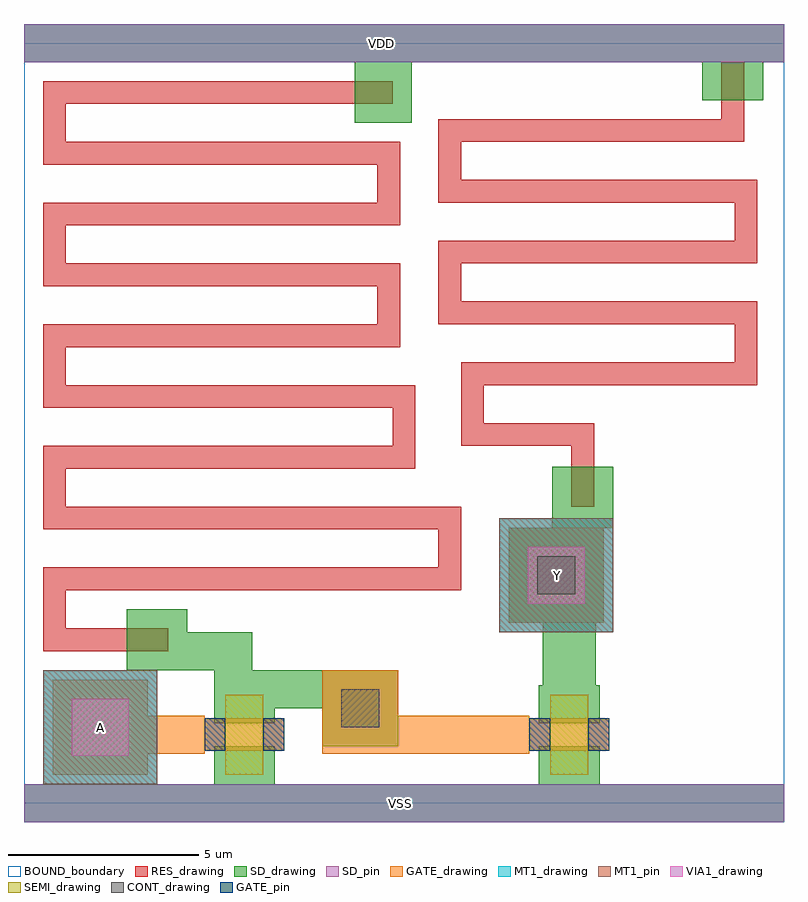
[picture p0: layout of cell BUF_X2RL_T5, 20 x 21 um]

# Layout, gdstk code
from math import pi, radians
import gdstk
lib = gdstk.Library(unit=1e-6, precision=1e-09)
def R(c, l, rs):  # rectangles x0, y0, x1, y1
    for r in rs: c.add(gdstk.rectangle(r[:2], r[2:], *l))
def P(c, l, *ps):  # polygons
    for p in ps: c.add(gdstk.Polygon(p, *l))
RES_drawing = (1, 0)
SEMI_drawing = (3, 0)
SD_drawing = (10, 0)
SD_pin = (10, 3)
GATE_drawing = (11, 0)
GATE_pin = (11, 3)
MT1_drawing = (20, 0)
MT1_pin = (20, 3)
CONT_drawing = (30, 0)
VIA1_drawing = (41, 0)
BOUND_boundary = (150, 5)

nch_cdns_772544872510 = lib.new_cell('nch_CDNS_772544872510')
R(nch_cdns_772544872510, SEMI_drawing, [(-1.05,-0.5,1.05,0.5)])
R(nch_cdns_772544872510, SD_drawing, [(-1.3,-0.8,-0.3,0.8), (0.3,-0.8,1.3,0.8)])
R(nch_cdns_772544872510, GATE_drawing, [(-0.425,-1.05,0.425,1.05)])
R(nch_cdns_772544872510, GATE_pin, [(-0.425,-1.05,0.425,-0.5), (-0.425,0.5,0.425,1.05)])

gate_mt1_cdns_7725448725 = lib.new_cell('GATE_MT1_CDNS_772544872510')
R(gate_mt1_cdns_7725448725, GATE_drawing, [(-1.25,-1.25,1.25,1.25)])
R(gate_mt1_cdns_7725448725, MT1_drawing, [(-1.25,-1.25,1.25,1.25)])
R(gate_mt1_cdns_7725448725, VIA1_drawing, [(-0.75,-0.75,0.75,0.75)])

sd_gate_cdns_77254487251 = lib.new_cell('SD_GATE_CDNS_772544872511')
R(sd_gate_cdns_77254487251, SD_drawing, [(-1,-1,1,1)])
R(sd_gate_cdns_77254487251, GATE_drawing, [(-1,-1,1,1)])
R(sd_gate_cdns_77254487251, CONT_drawing, [(-0.5,-0.5,0.5,0.5)])

buf_x2rl_t5 = lib.new_cell('BUF_X2RL_T5')
R(buf_x2rl_t5, SD_drawing, [(2.7,3.5,4.3,5.1), (12.75,4.75,15.25,7.25), (13.9,7.25,15.5,8.85), (8.7,17.9,10.2,19.5), (17.85,18.5,19.45,20)])
R(buf_x2rl_t5, SD_pin, [(0,-0.5,20,0.5), (0,19.5,20,20.5)])
P(buf_x2rl_t5, GATE_drawing, [(4.65,2.3),(4.65,1.3),(4.75,1.3),(4.75,1.425),(4.8,1.425),(4.8,2.175),(4.75,2.175),(4.75,2.3)],
  [(13.2,2.3),(13.2,1.3),(13.3,1.3),(13.3,1.425),(13.35,1.425),(13.35,2.175),(13.3,2.175),(13.3,2.3)])
R(buf_x2rl_t5, MT1_drawing, [(0.5,0.5,3.5,3.5), (12.5,4.5,15.5,7.5)])
R(buf_x2rl_t5, MT1_pin, [(0.5,0.5,3.5,3.5), (12.5,4.5,15.5,7.5)])
R(buf_x2rl_t5, BOUND_boundary, [(0,0,20,20)])
buf_x2rl_t5.add(gdstk.FlexPath([(13.2,1.8),(8.35,1.8)], 1, ends=(0, 0.5), simple_path=True, layer=11, datatype=0))  # GATE_drawing
buf_x2rl_t5.add(gdstk.FlexPath([(8.35,1.8),(8.35,2.45)], 1, ends=(0.5, 0), simple_path=True, layer=11, datatype=0))  # GATE_drawing
buf_x2rl_t5.add(gdstk.FlexPath([(2,1.8),(2,2)], 1, ends=(0.5, 0), simple_path=True, layer=11, datatype=0))  # GATE_drawing
buf_x2rl_t5.add(gdstk.FlexPath([(4.65,1.8),(2,1.8)], 1, ends=(0, 0.5), simple_path=True, layer=11, datatype=0))  # GATE_drawing
buf_x2rl_t5.add(gdstk.FlexPath([(14.15,6),(14.35,6)], 1.4, ends=(0.8, 0.7), simple_path=True, layer=10, datatype=0))  # SD_drawing
buf_x2rl_t5.add(gdstk.FlexPath([(4.3,4),(5.5,4)], 1, ends=(0, 0.5), simple_path=True, layer=10, datatype=0))  # SD_drawing
buf_x2rl_t5.add(gdstk.FlexPath([(5.5,4),(5.5,3.1)], 1, ends=(0.5, 0), simple_path=True, layer=10, datatype=0))  # SD_drawing
buf_x2rl_t5.add(gdstk.FlexPath([(14.15,6),(13.95,6)], 1.6, ends=(0.8, 0.7), simple_path=True, layer=10, datatype=0))  # SD_drawing
buf_x2rl_t5.add(gdstk.FlexPath([(14.15,6.1),(14.15,6)], 1.6, ends=(0, 0.7), simple_path=True, layer=10, datatype=0))  # SD_drawing
buf_x2rl_t5.add(gdstk.FlexPath([(14.35,6),(14.35,2.1)], 1.4, ends=(0.7, 0), simple_path=True, layer=10, datatype=0))  # SD_drawing
buf_x2rl_t5.add(gdstk.FlexPath([(8.85,3),(5,3)], 1, ends=(0.5, 0), simple_path=True, layer=10, datatype=0))  # SD_drawing
buf_x2rl_t5.add(gdstk.FlexPath([(8.85,2.9),(8.85,3)], 1, ends=(0, 0.5), simple_path=True, layer=10, datatype=0))  # SD_drawing
buf_x2rl_t5.add(gdstk.FlexPath([(0,20),(20,20)], 1, ends="flush", simple_path=True, layer=10, datatype=0))  # SD_drawing
buf_x2rl_t5.add(gdstk.FlexPath([(0,0),(20,0)], 1, ends="flush", simple_path=True, layer=10, datatype=0))  # SD_drawing
buf_x2rl_t5.add(gdstk.FlexPath([(18.65,19.5),(18.65,17.7),(11.2,17.7),(11.2,16.1),(19,16.1),(19,14.5),(11.2,14.5),(11.2,12.9),(19,12.9),(19,11.3),(11.8,11.3),(11.8,9.7),(14.7,9.7),(14.7,7.8)], 0.6, ends="flush", simple_path=True, layer=1, datatype=0))  # RES_drawing
buf_x2rl_t5.add(gdstk.FlexPath([(9.7,18.7),(0.8,18.7),(0.8,17.1),(9.6,17.1),(9.6,15.5),(0.8,15.5),(0.8,13.9),(9.6,13.9),(9.6,12.3),(0.8,12.3),(0.8,10.7),(10,10.7),(10,9.1),(0.8,9.1),(0.8,7.5),(11.2,7.5),(11.2,5.9),(0.8,5.9),(0.8,4.3),(3.8,4.3)], 0.6, ends="flush", simple_path=True, layer=1, datatype=0))  # RES_drawing
buf_x2rl_t5.add(gdstk.Reference(nch_cdns_772544872510, (14.35,1.8), rotation=pi/2))
buf_x2rl_t5.add(gdstk.Reference(nch_cdns_772544872510, (5.8,1.8), rotation=pi/2))
buf_x2rl_t5.add(gdstk.Reference(gate_mt1_cdns_7725448725, (14,6)))
buf_x2rl_t5.add(gdstk.Reference(gate_mt1_cdns_7725448725, (2,2)))
buf_x2rl_t5.add(gdstk.Reference(sd_gate_cdns_77254487251, (8.85,2.5)))
buf_x2rl_t5.add(gdstk.Reference(sd_gate_cdns_77254487251, (14,6)))
buf_x2rl_t5.add(gdstk.Label('VSS', (9.9,0), layer=10, texttype=3))
buf_x2rl_t5.add(gdstk.Label('VDD', (9.4,20), layer=10, texttype=3))
buf_x2rl_t5.add(gdstk.Label('Y', (14.05,6), layer=20, texttype=3))
buf_x2rl_t5.add(gdstk.Label('Y', (14.05,6), layer=20, texttype=3))
buf_x2rl_t5.add(gdstk.Label('Y', (14,6), layer=20, texttype=3))
buf_x2rl_t5.add(gdstk.Label('Y', (14.1,6), layer=20, texttype=3))
buf_x2rl_t5.add(gdstk.Label('Y', (14,6), layer=20, texttype=3))
buf_x2rl_t5.add(gdstk.Label('A', (2,2), layer=20, texttype=3))

lib.write_gds('BUF_X2RL_T5.gds')
